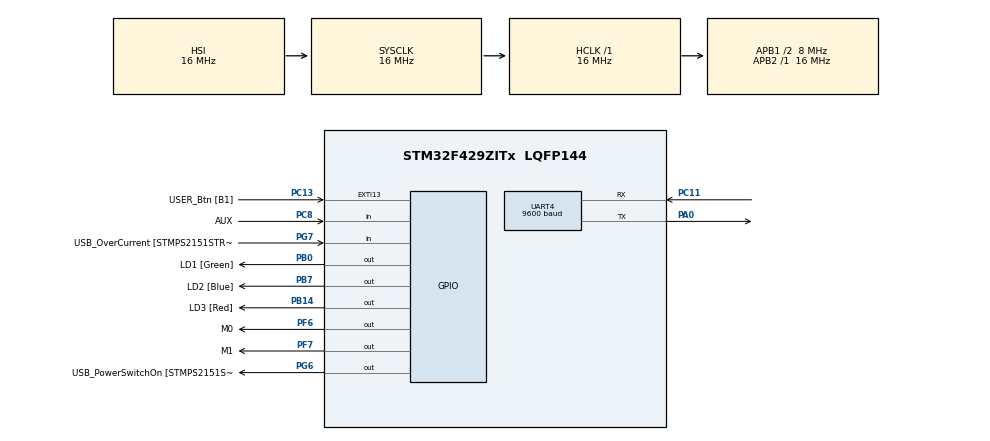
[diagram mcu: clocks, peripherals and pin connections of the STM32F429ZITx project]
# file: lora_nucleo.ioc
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Mcu.Family=STM32F4
Mcu.Name=STM32F429ZITx
Mcu.Package=LQFP144
NVIC.PriorityGroup=NVIC_PRIORITYGROUP_4
NVIC.UART4_IRQn=true\:0\:0\:false\:false\:true\:true\:true\:true
PA0/WKUP.Mode=Asynchronous
PA0/WKUP.Signal=UART4_TX
PA1.GPIO_Label=RMII_REF_CLK [LAN8742A-CZ-TR_REFCLK0]
PA1.Signal=ETH_REF_CLK
PA10.GPIO_Label=USB_ID
PA10.Signal=USB_OTG_FS_ID
PA11.GPIO_Label=USB_DM
PA11.Signal=USB_OTG_FS_DM
PA12.GPIO_Label=USB_DP
PA12.Signal=USB_OTG_FS_DP
PA13.GPIO_Label=TMS
PA13.Signal=SYS_JTMS-SWDIO
PA14.GPIO_Label=TCK
PA14.Signal=SYS_JTCK-SWCLK
PA2.GPIO_Label=RMII_MDIO [LAN8742A-CZ-TR_MDIO]
PA2.Signal=ETH_MDIO
PA7.GPIO_Label=RMII_CRS_DV [LAN8742A-CZ-TR_CRS_DV]
PA7.Signal=ETH_CRS_DV
PA8.GPIO_Label=USB_SOF [TP1]
PA8.Signal=USB_OTG_FS_SOF
PA9.GPIO_Label=USB_VBUS
PA9.Signal=USB_OTG_FS_VBUS
PB0.GPIO_Label=LD1 [Green]
PB0.Signal=GPIO_Output
PB13.GPIO_Label=RMII_TXD1 [LAN8742A-CZ-TR_TXD1]
PB13.Signal=ETH_TXD1
PB14.GPIO_Label=LD3 [Red]
PB14.Signal=GPIO_Output
PB7.GPIO_Label=LD2 [Blue]
PB7.Signal=GPIO_Output
PC1.GPIO_Label=RMII_MDC [LAN8742A-CZ-TR_MDC]
PC1.Signal=ETH_MDC
PC11.Mode=Asynchronous
PC11.Signal=UART4_RX
PC13.GPIO_Label=USER_Btn [B1]
PC13.Signal=GPXTI13
PC14/OSC32_IN.Signal=RCC_OSC32_IN
PC15/OSC32_OUT.Signal=RCC_OSC32_OUT
PC4.GPIO_Label=RMII_RXD0 [LAN8742A-CZ-TR_RXD0]
PC4.Signal=ETH_RXD0
PC5.GPIO_Label=RMII_RXD1 [LAN8742A-CZ-TR_RXD1]
PC5.Signal=ETH_RXD1
PC8.GPIO_Label=AUX
PC8.GPIO_PuPd=GPIO_PULLUP
PC8.Signal=GPIO_Input
PD8.GPIO_Label=STLK_RX [STM32F103CBT6_PA3]
PD8.Signal=USART3_TX
PD9.GPIO_Label=STLK_TX [STM32F103CBT6_PA2]
PD9.Signal=USART3_RX
PF6.GPIO_Label=M0
PF6.GPIO_PuPd=GPIO_PULLDOWN
PF6.Signal=GPIO_Output
PF7.GPIO_Label=M1
PF7.GPIO_PuPd=GPIO_PULLDOWN
PF7.Signal=GPIO_Output
PG11.GPIO_Label=RMII_TX_EN [LAN8742A-CZ-TR_TXEN]
PG11.Signal=ETH_TX_EN
PG13.GPIO_Label=RMII_TXD0 [LAN8742A-CZ-TR_TXD0]
PG13.Signal=ETH_TXD0
PG6.GPIO_Label=USB_PowerSwitchOn [STMPS2151STR_EN]
PG6.Signal=GPIO_Output
PG7.GPIO_Label=USB_OverCurrent [STMPS2151STR_FAULT]
PG7.Signal=GPIO_Input
PH0/OSC_IN.GPIO_Label=MCO [STM32F103CBT6_PA8]
PH0/OSC_IN.Signal=RCC_OSC_IN
PH1/OSC_OUT.Signal=RCC_OSC_OUT
ProjectManager.HeapSize=0x200
ProjectManager.StackSize=0x400
ProjectManager.TargetToolchain=STM32CubeIDE
RCC.48MHZClocksFreq_Value=48000000
RCC.AHBFreq_Value=16000000
RCC.APB1CLKDivider=RCC_HCLK_DIV2
RCC.APB1Freq_Value=8000000
RCC.APB1TimFreq_Value=16000000
RCC.APB2Freq_Value=16000000
RCC.APB2TimFreq_Value=16000000
RCC.CortexFreq_Value=16000000
RCC.HCLKFreq_Value=16000000
RCC.HSE_VALUE=8000000
RCC.HSI_VALUE=16000000
RCC.LSE_VALUE=32768
RCC.PLLMUL=RCC_PLL_MUL9
RCC.PRESCALERUSB=RCC_USBCLKSOURCE_PLL_DIV1_5
RCC.SYSCLKFreq_VALUE=16000000
RCC.SYSCLKSourceVirtual=RCC_SYSCLKSOURCE_PLLCLK
RCC.USBFreq_Value=48000000
RCC.VCOOutputFreq_Value=192000000
UART4.BaudRate=9600
UART4.VirtualMode=Asynchronous
board=NUCLEO-F429ZI

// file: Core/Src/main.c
/* USER CODE BEGIN Header */
/**
  ******************************************************************************
  * @file           : main.c
  * @brief          : Main program body
  ******************************************************************************
  * @attention
  *
  * Copyright (c) 2025 STMicroelectronics.
  * All rights reserved.
  *
  * This software is licensed under terms that can be found in the LICENSE file
  * in the root directory of this software component.
  * If no LICENSE file comes with this software, it is provided AS-IS.
  *
  ******************************************************************************
  */
/* USER CODE END Header */
#include "main.h"
#include "usart.h"
#include "gpio.h"

/* USER CODE BEGIN Includes */
#include "lora.h"
#include "stdbool.h"
/* USER CODE END Includes */

void SystemClock_Config(void);

/* USER CODE BEGIN 0 */
void LoRa_SetMode(uint8_t m0, uint8_t m1) {
    HAL_GPIO_WritePin(LORA_M0_PORT, LORA_M0_PIN, m0 ? GPIO_PIN_SET : GPIO_PIN_RESET);
    HAL_GPIO_WritePin(LORA_M1_PORT, LORA_M1_PIN, m1 ? GPIO_PIN_SET : GPIO_PIN_RESET);
}

void LoRa_WaitAUX(void) {
    while (HAL_GPIO_ReadPin(LORA_AUX_PORT, LORA_AUX_PIN) == GPIO_PIN_RESET) {
        HAL_Delay(10);  // Ждем, пока AUX станет HIGH (модуль готов)
    }
}
void LoRa_Init(void) {
    LoRa_SetMode(0, 0);  // Normal Mode
    LoRa_WaitAUX();      // Ждем готовности модуля
}
void LoRa_SendData(uint8_t *data, uint16_t size) {
    LoRa_WaitAUX();  // Убедимся, что модуль не занят

    // Отправляем данные через UART4
    HAL_UART_Transmit(&huart4, data, size, HAL_MAX_DELAY);

    // Можно добавить проверку AUX после отправки
    LoRa_WaitAUX();
}
uint8_t rx_buffer[64];
void LoRa_ReceiveData(void) {
    if (HAL_UART_Receive(&huart4, rx_buffer, sizeof(rx_buffer), 100) == HAL_OK) {
        // Данные приняты, обработать rx_buffer
    	// Определяем длину данных (до первого нуля или конца буфера)
		int rx_size = 0;
		while (rx_buffer[rx_size] != 0 && rx_size < 64) {
			rx_size++;
		}
    	 HAL_UART_Transmit(&huart4, rx_buffer, rx_size, HAL_MAX_DELAY);
    }
}
/* USER CODE END 0 */

int main(void)
{

  /* MCU Configuration--------------------------------------------------------*/

  /* Reset of all peripherals, Initializes the Flash interface and the Systick. */
  HAL_Init();

  /* Configure the system clock */
  SystemClock_Config();

  /* Initialize all configured peripherals */
  MX_GPIO_Init();
  MX_UART4_Init();
  /* USER CODE BEGIN 2 */
  LoRa_Init();  // �?нициализация LoRa в Normal Mode

      uint8_t message[] = "Hello LoRa!";
  /* USER CODE END 2 */

  /* Infinite loop */
  /* USER CODE BEGIN WHILE */
  while (1)
  {
	  LoRa_SendData(message, sizeof(message) - 1);  // Отправляем без нуль-терминатора
	 HAL_Delay(1000);  // Отправка каждую секунду
	  HAL_GPIO_TogglePin(LD1_GPIO_Port, LD1_Pin);

    /* USER CODE END WHILE */

  }
}

void SystemClock_Config(void)
{
  RCC_OscInitTypeDef RCC_OscInitStruct = {0};
  RCC_ClkInitTypeDef RCC_ClkInitStruct = {0};

  /** Configure the main internal regulator output voltage
  */
  __HAL_RCC_PWR_CLK_ENABLE();
  __HAL_PWR_VOLTAGESCALING_CONFIG(PWR_REGULATOR_VOLTAGE_SCALE3);

  /** Initializes the RCC Oscillators according to the specified parameters
  * in the RCC_OscInitTypeDef structure.
  */
  RCC_OscInitStruct.OscillatorType = RCC_OSCILLATORTYPE_HSI;
  RCC_OscInitStruct.HSIState = RCC_HSI_ON;
  RCC_OscInitStruct.HSICalibrationValue = RCC_HSICALIBRATION_DEFAULT;
  RCC_OscInitStruct.PLL.PLLState = RCC_PLL_NONE;
  if (HAL_RCC_OscConfig(&RCC_OscInitStruct) != HAL_OK)
  {
    Error_Handler();
  }

  /** Initializes the CPU, AHB and APB buses clocks
  */
  RCC_ClkInitStruct.ClockType = RCC_CLOCKTYPE_HCLK|RCC_CLOCKTYPE_SYSCLK
                              |RCC_CLOCKTYPE_PCLK1|RCC_CLOCKTYPE_PCLK2;
  RCC_ClkInitStruct.SYSCLKSource = RCC_SYSCLKSOURCE_HSI;
  RCC_ClkInitStruct.AHBCLKDivider = RCC_SYSCLK_DIV1;
  RCC_ClkInitStruct.APB1CLKDivider = RCC_HCLK_DIV2;
  RCC_ClkInitStruct.APB2CLKDivider = RCC_HCLK_DIV1;

  if (HAL_RCC_ClockConfig(&RCC_ClkInitStruct, FLASH_LATENCY_0) != HAL_OK)
  {
    Error_Handler();
  }
}

void Error_Handler(void)
{
  __disable_irq();
  while (1)
  {
  }
}
